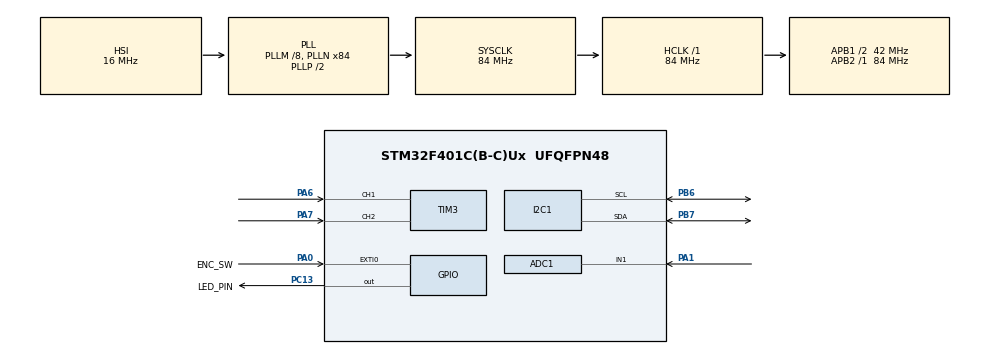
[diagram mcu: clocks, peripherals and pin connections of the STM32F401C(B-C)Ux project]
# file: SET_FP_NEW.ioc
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ADC1.Channel-0\#ChannelRegularConversion=ADC_CHANNEL_1
ADC1.ContinuousConvMode=DISABLE
ADC1.DMAContinuousRequests=DISABLE
ADC1.NbrOfConversionFlag=1
ADC1.Rank-0\#ChannelRegularConversion=1
ADC1.SamplingTime-0\#ChannelRegularConversion=ADC_SAMPLETIME_3CYCLES
ADC1.ScanConvMode=DISABLE
ADC1.master=1
Mcu.Family=STM32F4
Mcu.Name=STM32F401C(B-C)Ux
Mcu.Package=UFQFPN48
NVIC.EXTI0_IRQn=true\:0\:0\:false\:false\:true\:true\:true\:true
NVIC.PriorityGroup=NVIC_PRIORITYGROUP_4
NVIC.TIM3_IRQn=true\:0\:0\:false\:false\:true\:true\:true\:true
PA0-WKUP.GPIO_Label=ENC_SW
PA0-WKUP.GPIO_ModeDefaultEXTI=GPIO_MODE_IT_FALLING
PA0-WKUP.GPIO_PuPd=GPIO_PULLUP
PA0-WKUP.Signal=GPXTI0
PA1.Signal=ADCx_IN1
PA6.Signal=S_TIM3_CH1
PA7.Signal=S_TIM3_CH2
PB6.Mode=I2C
PB6.Signal=I2C1_SCL
PB7.Mode=I2C
PB7.Signal=I2C1_SDA
PC13-ANTI_TAMP.GPIO_Label=LED_PIN
PC13-ANTI_TAMP.PinState=GPIO_PIN_SET
PC13-ANTI_TAMP.Signal=GPIO_Output
PH0\ -\ OSC_IN.Mode=HSE-External-Oscillator
PH0\ -\ OSC_IN.Signal=RCC_OSC_IN
PH1\ -\ OSC_OUT.Mode=HSE-External-Oscillator
PH1\ -\ OSC_OUT.Signal=RCC_OSC_OUT
ProjectManager.HeapSize=0x200
ProjectManager.StackSize=0x400
ProjectManager.TargetToolchain=STM32CubeIDE
RCC.48MHZClocksFreq_Value=42000000
RCC.AHBFreq_Value=84000000
RCC.APB1CLKDivider=RCC_HCLK_DIV2
RCC.APB1Freq_Value=42000000
RCC.APB1TimFreq_Value=84000000
RCC.APB2Freq_Value=84000000
RCC.APB2TimFreq_Value=84000000
RCC.CortexFreq_Value=84000000
RCC.HCLKFreq_Value=84000000
RCC.HSE_VALUE=25000000
RCC.HSI_VALUE=16000000
RCC.LSE_VALUE=32768
RCC.PLLM=8
RCC.PLLN=84
RCC.SYSCLKFreq_VALUE=84000000
RCC.SYSCLKSource=RCC_SYSCLKSOURCE_PLLCLK
RCC.VCOOutputFreq_Value=168000000
SH.ADCx_IN1.0=ADC1_IN1,IN1
SH.S_TIM3_CH1.0=TIM3_CH1,Encoder_Interface
SH.S_TIM3_CH2.0=TIM3_CH2,Encoder_Interface
board=custom

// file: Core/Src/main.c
/* USER CODE BEGIN Header */
/**
  ******************************************************************************
  * @file           : main.c
  * @brief          : Main program body
  ******************************************************************************
  * @attention
  *
  * Copyright (c) 2024 STMicroelectronics.
  * All rights reserved.
  *
  * This software is licensed under terms that can be found in the LICENSE file
  * in the root directory of this software component.
  * If no LICENSE file comes with this software, it is provided AS-IS.
  *
  ******************************************************************************
  */
/* USER CODE END Header */
#include "main.h"

/* USER CODE BEGIN Includes */
#include "i2c_lcd.h"
#include "encoder.h"
#include "menu.h"
#include "si5351.h"

/* USER CODE END Includes */

ADC_HandleTypeDef hadc1;

I2C_HandleTypeDef hi2c1;

TIM_HandleTypeDef htim3;

/* USER CODE BEGIN PV */
I2C_LCD_HandleTypeDef lcd1;
uint32_t previous_set_value;
uint32_t adcValue = 0; // Variabel untuk menyimpan hasil ADC
float voltage = 0.0f;   // Variabel untuk menyimpan hasil tegangan
float sensed_voltage ;
uint32_t adc_time;
/* USER CODE END PV */

void SystemClock_Config(void);
static void MX_GPIO_Init(void);
static void MX_ADC1_Init(void);
static void MX_I2C1_Init(void);
static void MX_TIM3_Init(void);

/* USER CODE BEGIN 0 */
#define DEBOUNCE_DELAY 300

uint32_t last_interrupt_time = 0;
volatile uint32_t last_time = 0;

uint8_t debounce_check() {
    uint32_t current_time = HAL_GetTick();  // Dapatkan waktu sekarang
    if ((current_time - last_interrupt_time) > DEBOUNCE_DELAY) {
        last_interrupt_time = current_time;  // Update waktu terakhir
        return 1;  // Tombol stabil
    }
    return 0;  // Abaikan jika tombol masih bouncing
}

void HAL_GPIO_EXTI_Callback(uint16_t GPIO_Pin) {
    if (GPIO_Pin == GPIO_PIN_0 && debounce_check()) {  // Filter tombol dengan debounce
        if (current_screen == 0) {  // Screen 1
            switch (menu_position) {
                case 1:  // Menu "Set"
                    current_screen = 1;  // Pindah ke Screen 2
                    secondary_menu_pos = 0;  // Reset ke posisi menu awal pada Screen 2
                    break;

                case 0:  // Menu "Start"
                    start_status = !start_status;  // Toggle Start/Stop
                    break;

                default:
                    break;
            }
        }
        else if (current_screen == 1) {  // Screen 2
            if (is_selecting_scaler) {  // Jika sedang memilih scaler
                current_scaler_index = selected_scaler_index;  // Simpan indeks scaler terakhir
                is_selecting_scaler = 0;  // Keluar dari mode memilih scaler
            }else if(is_selecting_frequency){
            	last_set_value = set_value;
            	is_selecting_frequency = 0;
            }
            else {
                switch (secondary_menu_pos) {
                    case 0:  // Menu "SCALE"
                        is_selecting_scaler = 1;  // Masuk ke mode memilih scaler
                        break;
                    case 1 :
                    	is_selecting_frequency = 1;
                    	break;
                    case 2:  // Menu "OK"
                        current_screen = 0;  // Kembali ke Screen 1
                        break;

                    default:
                        break;
                }
            }
        }
    }
}

void HAL_TIM_IC_CaptureCallback(TIM_HandleTypeDef *htim)
{
	encoder_value = __HAL_TIM_GET_COUNTER(htim);
}

float ADC_ReadVoltage(void)
{
    // Mulai konversi ADC
    HAL_ADC_Start(&hadc1);

    // Tunggu sampai konversi selesai
    if (HAL_ADC_PollForConversion(&hadc1, 100) == HAL_OK)
    {
        // Ambil hasil konversi ADC
        adcValue = HAL_ADC_GetValue(&hadc1);

        // Hitung tegangan berdasarkan nilai ADC (contoh: VREF = 3.3V, 12-bit ADC)
        voltage = (adcValue*11.79)/1880;
    }

    // Matikan ADC setelah selesai
    HAL_ADC_Stop(&hadc1);

    return voltage;
}

/* USER CODE END 0 */

int main(void)
{

  /* MCU Configuration--------------------------------------------------------*/

  /* Reset of all peripherals, Initializes the Flash interface and the Systick. */
  HAL_Init();

  /* Configure the system clock */
  SystemClock_Config();

  /* Initialize all configured peripherals */
  MX_GPIO_Init();
  MX_ADC1_Init();
  MX_I2C1_Init();
  MX_TIM3_Init();
  /* USER CODE BEGIN 2 */

  lcd1.hi2c = &hi2c1;
  lcd1.address = 0x4E;
  lcd_init(&lcd1);

  encoder_init(&htim3);
  menu_init();

  const int32_t correction = 978;
  si5351_Init(correction);

  /* USER CODE END 2 */

  /* Infinite loop */
  /* USER CODE BEGIN WHILE */
  while (1)
  {

      menu_update();   // Update logika menu
      menu_display();  // Tampilkan menu
	  if(HAL_GetTick()-adc_time >= 500)
	  {
		  sensed_voltage = ADC_ReadVoltage();
		  adc_time = HAL_GetTick();
	  }

      if (start_status == 1)

      {
    	  if (last_set_value != previous_set_value)
    	     {
    	         // Jika berubah, lakukan setup untuk CLK0 dan CLK2
    	         si5351_SetupCLK0(last_set_value, SI5351_DRIVE_STRENGTH_4MA);
    	         si5351_SetupCLK2(last_set_value, SI5351_DRIVE_STRENGTH_4MA);

    	         // Update nilai terakhir
    	         previous_set_value = last_set_value;
    	     }
    	  si5351_EnableOutputs((1<<0) | (1<<2));
    	  if(HAL_GetTick()-last_time >= 500)
    	  {
    		  HAL_GPIO_TogglePin(GPIOC, LED_PIN_Pin);
    		  sensed_voltage = ADC_ReadVoltage();
    		  last_time = HAL_GetTick();
    	  }
      }
      else
      {
    	  si5351_EnableOutputs(0);
    	  HAL_GPIO_WritePin(GPIOC, LED_PIN_Pin, SET);
      }
    /* USER CODE END WHILE */

    /* USER CODE BEGIN 3 */

      HAL_Delay(1);
  }
  /* USER CODE END 3 */
}

void SystemClock_Config(void)
{
  RCC_OscInitTypeDef RCC_OscInitStruct = {0};
  RCC_ClkInitTypeDef RCC_ClkInitStruct = {0};

  /** Configure the main internal regulator output voltage
  */
  __HAL_RCC_PWR_CLK_ENABLE();
  __HAL_PWR_VOLTAGESCALING_CONFIG(PWR_REGULATOR_VOLTAGE_SCALE2);

  /** Initializes the RCC Oscillators according to the specified parameters
  * in the RCC_OscInitTypeDef structure.
  */
  RCC_OscInitStruct.OscillatorType = RCC_OSCILLATORTYPE_HSI;
  RCC_OscInitStruct.HSIState = RCC_HSI_ON;
  RCC_OscInitStruct.HSICalibrationValue = RCC_HSICALIBRATION_DEFAULT;
  RCC_OscInitStruct.PLL.PLLState = RCC_PLL_ON;
  RCC_OscInitStruct.PLL.PLLSource = RCC_PLLSOURCE_HSI;
  RCC_OscInitStruct.PLL.PLLM = 8;
  RCC_OscInitStruct.PLL.PLLN = 84;
  RCC_OscInitStruct.PLL.PLLP = RCC_PLLP_DIV2;
  RCC_OscInitStruct.PLL.PLLQ = 4;
  if (HAL_RCC_OscConfig(&RCC_OscInitStruct) != HAL_OK)
  {
    Error_Handler();
  }

  /** Initializes the CPU, AHB and APB buses clocks
  */
  RCC_ClkInitStruct.ClockType = RCC_CLOCKTYPE_HCLK|RCC_CLOCKTYPE_SYSCLK
                              |RCC_CLOCKTYPE_PCLK1|RCC_CLOCKTYPE_PCLK2;
  RCC_ClkInitStruct.SYSCLKSource = RCC_SYSCLKSOURCE_PLLCLK;
  RCC_ClkInitStruct.AHBCLKDivider = RCC_SYSCLK_DIV1;
  RCC_ClkInitStruct.APB1CLKDivider = RCC_HCLK_DIV2;
  RCC_ClkInitStruct.APB2CLKDivider = RCC_HCLK_DIV1;

  if (HAL_RCC_ClockConfig(&RCC_ClkInitStruct, FLASH_LATENCY_2) != HAL_OK)
  {
    Error_Handler();
  }
}

static void MX_ADC1_Init(void)
{

  ADC_ChannelConfTypeDef sConfig = {0};

  /** Configure the global features of the ADC (Clock, Resolution, Data Alignment and number of conversion)
  */
  hadc1.Instance = ADC1;
  hadc1.Init.ClockPrescaler = ADC_CLOCK_SYNC_PCLK_DIV4;
  hadc1.Init.Resolution = ADC_RESOLUTION_12B;
  hadc1.Init.ScanConvMode = DISABLE;
  hadc1.Init.ContinuousConvMode = DISABLE;
  hadc1.Init.DiscontinuousConvMode = DISABLE;
  hadc1.Init.ExternalTrigConvEdge = ADC_EXTERNALTRIGCONVEDGE_NONE;
  hadc1.Init.ExternalTrigConv = ADC_SOFTWARE_START;
  hadc1.Init.DataAlign = ADC_DATAALIGN_RIGHT;
  hadc1.Init.NbrOfConversion = 1;
  hadc1.Init.DMAContinuousRequests = DISABLE;
  hadc1.Init.EOCSelection = ADC_EOC_SINGLE_CONV;
  if (HAL_ADC_Init(&hadc1) != HAL_OK)
  {
    Error_Handler();
  }

  /** Configure for the selected ADC regular channel its corresponding rank in the sequencer and its sample time.
  */
  sConfig.Channel = ADC_CHANNEL_1;
  sConfig.Rank = 1;
  sConfig.SamplingTime = ADC_SAMPLETIME_3CYCLES;
  if (HAL_ADC_ConfigChannel(&hadc1, &sConfig) != HAL_OK)
  {
    Error_Handler();
  }

}

static void MX_I2C1_Init(void)
{

  hi2c1.Instance = I2C1;
  hi2c1.Init.ClockSpeed = 100000;
  hi2c1.Init.DutyCycle = I2C_DUTYCYCLE_2;
  hi2c1.Init.OwnAddress1 = 0;
  hi2c1.Init.AddressingMode = I2C_ADDRESSINGMODE_7BIT;
  hi2c1.Init.DualAddressMode = I2C_DUALADDRESS_DISABLE;
  hi2c1.Init.OwnAddress2 = 0;
  hi2c1.Init.GeneralCallMode = I2C_GENERALCALL_DISABLE;
  hi2c1.Init.NoStretchMode = I2C_NOSTRETCH_DISABLE;
  if (HAL_I2C_Init(&hi2c1) != HAL_OK)
  {
    Error_Handler();
  }

}

static void MX_TIM3_Init(void)
{

  TIM_Encoder_InitTypeDef sConfig = {0};
  TIM_MasterConfigTypeDef sMasterConfig = {0};

  htim3.Instance = TIM3;
  htim3.Init.Prescaler = 0;
  htim3.Init.CounterMode = TIM_COUNTERMODE_UP;
  htim3.Init.Period = 65535;
  htim3.Init.ClockDivision = TIM_CLOCKDIVISION_DIV1;
  htim3.Init.AutoReloadPreload = TIM_AUTORELOAD_PRELOAD_DISABLE;
  sConfig.EncoderMode = TIM_ENCODERMODE_TI1;
  sConfig.IC1Polarity = TIM_ICPOLARITY_RISING;
  sConfig.IC1Selection = TIM_ICSELECTION_DIRECTTI;
  sConfig.IC1Prescaler = TIM_ICPSC_DIV1;
  sConfig.IC1Filter = 0;
  sConfig.IC2Polarity = TIM_ICPOLARITY_RISING;
  sConfig.IC2Selection = TIM_ICSELECTION_DIRECTTI;
  sConfig.IC2Prescaler = TIM_ICPSC_DIV1;
  sConfig.IC2Filter = 0;
  if (HAL_TIM_Encoder_Init(&htim3, &sConfig) != HAL_OK)
  {
    Error_Handler();
  }
  sMasterConfig.MasterOutputTrigger = TIM_TRGO_RESET;
  sMasterConfig.MasterSlaveMode = TIM_MASTERSLAVEMODE_DISABLE;
  if (HAL_TIMEx_MasterConfigSynchronization(&htim3, &sMasterConfig) != HAL_OK)
  {
    Error_Handler();
  }

}

static void MX_GPIO_Init(void)
{
  GPIO_InitTypeDef GPIO_InitStruct = {0};

  /* GPIO Ports Clock Enable */
  __HAL_RCC_GPIOC_CLK_ENABLE();
  __HAL_RCC_GPIOH_CLK_ENABLE();
  __HAL_RCC_GPIOA_CLK_ENABLE();
  __HAL_RCC_GPIOB_CLK_ENABLE();

  /*Configure GPIO pin Output Level */
  HAL_GPIO_WritePin(LED_PIN_GPIO_Port, LED_PIN_Pin, GPIO_PIN_SET);

  /*Configure GPIO pin : LED_PIN_Pin */
  GPIO_InitStruct.Pin = LED_PIN_Pin;
  GPIO_InitStruct.Mode = GPIO_MODE_OUTPUT_PP;
  GPIO_InitStruct.Pull = GPIO_NOPULL;
  GPIO_InitStruct.Speed = GPIO_SPEED_FREQ_LOW;
  HAL_GPIO_Init(LED_PIN_GPIO_Port, &GPIO_InitStruct);

  /*Configure GPIO pin : ENC_SW_Pin */
  GPIO_InitStruct.Pin = ENC_SW_Pin;
  GPIO_InitStruct.Mode = GPIO_MODE_IT_FALLING;
  GPIO_InitStruct.Pull = GPIO_PULLUP;
  HAL_GPIO_Init(ENC_SW_GPIO_Port, &GPIO_InitStruct);

  /* EXTI interrupt init*/
  HAL_NVIC_SetPriority(EXTI0_IRQn, 0, 0);
  HAL_NVIC_EnableIRQ(EXTI0_IRQn);

}

void Error_Handler(void)
{
  __disable_irq();
  while (1)
  {
  }
}
